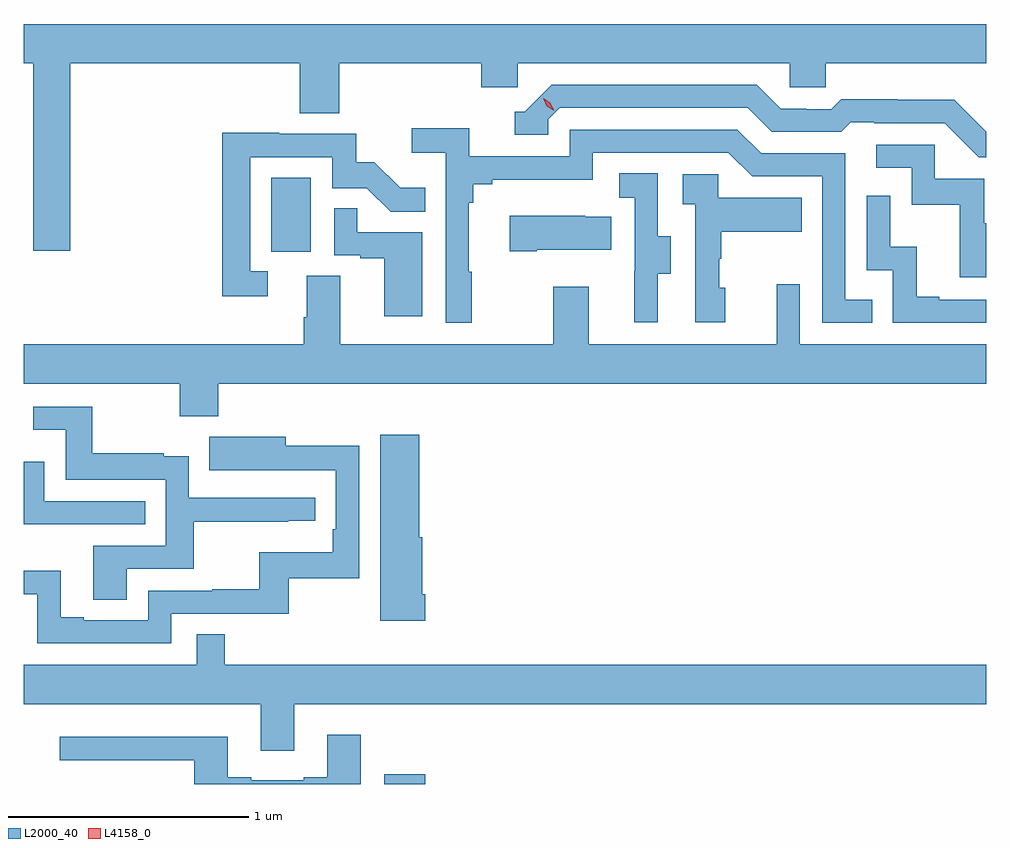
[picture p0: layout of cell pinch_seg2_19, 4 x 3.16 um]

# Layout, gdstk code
import gdstk
lib = gdstk.Library(unit=1e-6, precision=1e-09)
def R(c, l, rs):  # rectangles x0, y0, x1, y1
    for r in rs: c.add(gdstk.rectangle(r[:2], r[2:], *l))
def P(c, l, *ps):  # polygons
    for p in ps: c.add(gdstk.Polygon(p, *l))
L2000_40 = (2000, 40)
L4158_0 = (4158, 0)

pinch_seg2_19 = lib.new_cell('pinch_seg2_19')
R(pinch_seg2_19, L2000_40, [(1090.64,649.968,1090.811,650.008), (1090.172,652.182,1090.336,652.489)])
P(pinch_seg2_19, L2000_40, [(1089.335,652.964),(1090.289,652.964),(1090.289,652.756),(1090.454,652.756),(1090.454,652.964),(1091.045,652.964),(1091.045,652.866),(1091.196,652.866),(1091.196,652.964),(1092.327,652.964),(1092.327,652.866),(1092.477,652.866),(1092.477,652.964),(1093.143,652.964),(1093.143,653.128),(1089.143,653.128),(1089.143,652.964),(1089.182,652.964),(1089.182,652.185),(1089.335,652.185)],
  [(1093.143,652.68),(1093.01,652.813),(1092.774,652.813),(1092.774,652.816),(1092.541,652.816),(1092.499,652.773),(1092.396,652.773),(1092.396,652.776),(1092.289,652.776),(1092.19,652.875),(1091.337,652.875),(1091.226,652.764),(1091.183,652.764),(1091.183,652.668),(1091.322,652.668),(1091.322,652.731),(1091.37,652.779),(1092.153,652.779),(1092.252,652.68),(1092.541,652.68),(1092.58,652.719),(1092.679,652.719),(1092.679,652.716),(1092.972,652.716),(1093.113,652.575),(1093.143,652.575)],
  [(1091.005,652.097),(1090.993,652.097),(1090.993,652.385),(1091.012,652.385),(1091.012,652.462),(1091.089,652.462),(1091.089,652.481),(1091.508,652.481),(1091.508,652.593),(1092.072,652.593),(1092.171,652.494),(1092.462,652.494),(1092.462,651.885),(1092.671,651.885),(1092.671,651.981),(1092.558,651.981),(1092.558,652.59),(1092.208,652.59),(1092.109,652.689),(1091.412,652.689),(1091.412,652.578),(1090.994,652.578),(1090.994,652.694),(1090.755,652.694),(1090.755,652.592),(1090.896,652.592),(1090.896,651.885),(1091.005,651.885)],
  [(1090.156,652.101),(1090.083,652.101),(1090.083,652.575),(1090.425,652.575),(1090.425,652.446),(1090.569,652.446),(1090.667,652.348),(1090.811,652.348),(1090.811,652.447),(1090.707,652.447),(1090.6,652.554),(1090.524,652.554),(1090.524,652.671),(1090.205,652.671),(1090.205,652.676),(1089.967,652.676),(1089.967,651.996),(1090.156,651.996)],
  [(1093.143,652.299),(1093.135,652.299),(1093.135,652.485),(1092.93,652.485),(1092.93,652.626),(1092.687,652.626),(1092.687,652.53),(1092.834,652.53),(1092.834,652.377),(1093.033,652.377),(1093.033,652.074),(1093.143,652.074)],
  [(1091.779,652.09),(1091.833,652.09),(1091.833,652.245),(1091.778,652.245),(1091.778,652.508),(1091.619,652.508),(1091.619,652.405),(1091.682,652.405),(1091.682,652.101),(1091.681,652.101),(1091.681,651.888),(1091.779,651.888)],
  [(1092.058,652.032),(1092.033,652.032),(1092.033,652.151),(1092.043,652.151),(1092.043,652.265),(1092.377,652.265),(1092.377,652.405),(1092.03,652.405),(1092.03,652.503),(1091.883,652.503),(1091.883,652.379),(1091.934,652.379),(1091.934,651.888),(1092.058,651.888)],
  [(1093.143,651.981),(1092.949,651.981),(1092.949,651.994),(1092.854,651.994),(1092.854,652.202),(1092.744,652.202),(1092.744,652.414),(1092.648,652.414),(1092.648,652.104),(1092.756,652.104),(1092.756,651.885),(1093.143,651.885)],
  [(1090.798,652.263),(1090.529,652.263),(1090.529,652.361),(1090.434,652.361),(1090.434,652.167),(1090.541,652.167),(1090.541,652.155),(1090.64,652.155),(1090.64,651.912),(1090.798,651.912)],
  [(1091.275,652.19),(1091.585,652.19),(1091.585,652.327),(1091.477,652.327),(1091.477,652.33),(1091.163,652.33),(1091.163,652.183),(1091.275,652.183)],
  [(1089.95,651.632),(1093.143,651.632),(1093.143,651.796),(1092.369,651.796),(1092.369,652.045),(1092.272,652.045),(1092.272,651.796),(1091.491,651.796),(1091.491,652.036),(1091.344,652.036),(1091.344,651.796),(1090.459,651.796),(1090.459,652.082),(1090.319,652.082),(1090.319,651.908),(1090.307,651.908),(1090.307,651.796),(1089.143,651.796),(1089.143,651.632),(1089.79,651.632),(1089.79,651.497),(1089.95,651.497)],
  [(1089.571,650.862),(1089.848,650.862),(1089.848,651.058),(1090.241,651.058),(1090.241,651.063),(1090.354,651.063),(1090.354,651.159),(1089.828,651.159),(1089.828,651.331),(1089.725,651.331),(1089.725,651.343),(1089.427,651.343),(1089.427,651.537),(1089.181,651.537),(1089.181,651.44),(1089.316,651.44),(1089.316,651.234),(1089.732,651.234),(1089.732,650.958),(1089.431,650.958),(1089.431,650.734),(1089.571,650.734)],
  [(1090.811,650.758),(1090.798,650.758),(1090.798,650.994),(1090.786,650.994),(1090.786,651.421),(1090.625,651.421),(1090.625,650.646),(1090.811,650.646)],
  [(1089.756,650.676),(1090.243,650.676),(1090.243,650.823),(1090.536,650.823),(1090.536,651.374),(1090.231,651.374),(1090.231,651.412),(1089.913,651.412),(1089.913,651.272),(1090.127,651.272),(1090.127,651.273),(1090.44,651.273),(1090.44,651.028),(1090.427,651.028),(1090.427,650.932),(1090.122,650.932),(1090.122,650.777),(1089.925,650.777),(1089.925,650.772),(1089.66,650.772),(1089.66,650.649),(1089.391,650.649),(1089.391,650.662),(1089.295,650.662),(1089.295,650.855),(1089.143,650.855),(1089.143,650.757),(1089.198,650.757),(1089.198,650.553),(1089.756,650.553)],
  [(1089.647,651.144),(1089.228,651.144),(1089.228,651.307),(1089.143,651.307),(1089.143,651.048),(1089.647,651.048)],
  [(1090.267,650.3),(1093.143,650.3),(1093.143,650.464),(1089.977,650.464),(1089.977,650.591),(1089.861,650.591),(1089.861,650.464),(1089.143,650.464),(1089.143,650.3),(1090.127,650.3),(1090.127,650.106),(1090.267,650.106)],
  [(1090.543,650.173),(1090.403,650.173),(1090.403,649.996),(1090.307,649.996),(1090.307,649.983),(1090.087,649.983),(1090.087,649.996),(1089.991,649.996),(1089.991,650.164),(1089.291,650.164),(1089.291,650.067),(1089.851,650.067),(1089.851,649.968),(1090.543,649.968)])
P(pinch_seg2_19, L4158_0, [(1091.348,652.767),(1091.317,652.786),(1091.301,652.819),(1091.301,652.819),(1091.301,652.819),(1091.332,652.8),(1091.348,652.767),(1091.348,652.767)])

lib.write_gds('pinch_seg2_19.gds')
